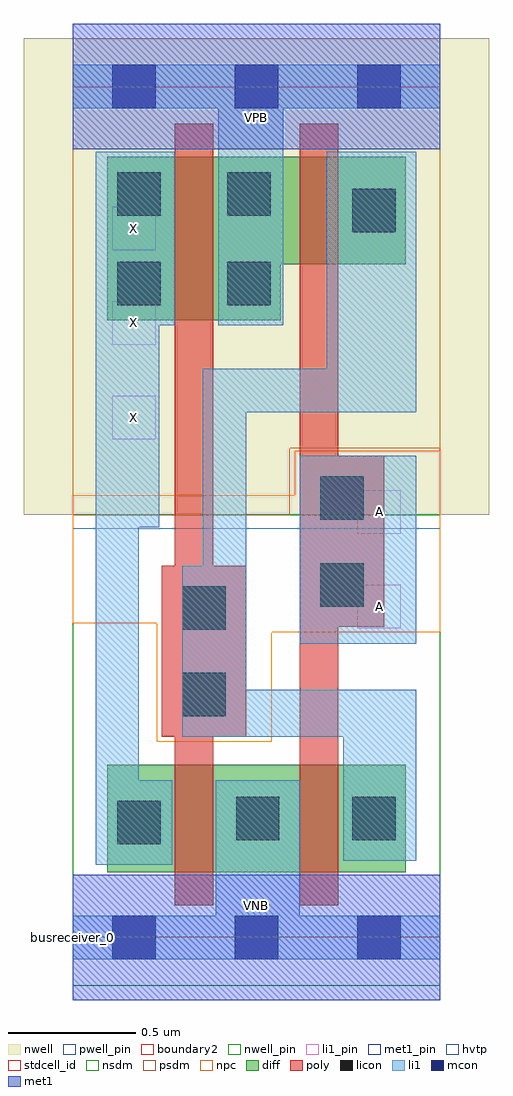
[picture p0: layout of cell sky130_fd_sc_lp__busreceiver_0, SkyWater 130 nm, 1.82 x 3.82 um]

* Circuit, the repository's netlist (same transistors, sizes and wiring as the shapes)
* Copyright 2020 The SkyWater PDK Authors
*
* Licensed under the Apache License, Version 2.0 (the "License");
* you may not use this file except in compliance with the License.
* You may obtain a copy of the License at
*
*     https://www.apache.org/licenses/LICENSE-2.0
*
* Unless required by applicable law or agreed to in writing, software
* distributed under the License is distributed on an "AS IS" BASIS,
* WITHOUT WARRANTIES OR CONDITIONS OF ANY KIND, either express or implied.
* See the License for the specific language governing permissions and
* limitations under the License.
*
* SPDX-License-Identifier: Apache-2.0

.SUBCKT sky130_fd_sc_lp__busreceiver_0 A VGND VNB VPB VPWR X
*.PININFO A:I VGND:I VNB:I VPB:I VPWR:I X:O
MMIN1 Ab A VGND VNB sky130_fd_pr__nfet_01v8 m=1 w=0.42U l=0.15U mult=1 sa=0.265
+ sb=0.265 sd=0.28 area=0.063 perim=1.14
MMIN2 X Ab VGND VNB sky130_fd_pr__nfet_01v8 m=1 w=0.42U l=0.15U mult=1 sa=0.265
+ sb=0.265 sd=0.28 area=0.063 perim=1.14
MMIP1 Ab A VPWR VPB sky130_fd_pr__pfet_01v8_hvt m=1 w=0.42U l=0.15U mult=1 sa=0.265
+ sb=0.265 sd=0.28 area=0.063 perim=1.14
MMIP2 X Ab VPWR VPB sky130_fd_pr__pfet_01v8_hvt m=1 w=0.64U l=0.15U mult=1 sa=0.265
+ sb=0.265 sd=0.28 area=0.063 perim=1.14
.ENDS sky130_fd_sc_lp__busreceiver_0

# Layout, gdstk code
import gdstk
lib = gdstk.Library(unit=1e-6, precision=1e-09)
def R(c, l, rs):  # rectangles x0, y0, x1, y1
    for r in rs: c.add(gdstk.rectangle(r[:2], r[2:], *l))
def A(c, l, x, y, w, h, nx, ny, dx, dy):  # array of equal rectangles
    R(c, l, [(x+i*dx, y+j*dy, x+i*dx+w, y+j*dy+h) for i in range(nx) for j in range(ny)])
def P(c, l, *ps):  # polygons
    for p in ps: c.add(gdstk.Polygon(p, *l))
nwell_pin = (64, 16)
nwell = (64, 20)
diff = (65, 20)
poly = (66, 20)
licon = (66, 44)
li1_pin = (67, 16)
li1 = (67, 20)
mcon = (67, 44)
met1_pin = (68, 16)
met1 = (68, 20)
hvtp = (78, 44)
stdcell_id = (81, 4)
nsdm = (93, 44)
psdm = (94, 20)
npc = (95, 20)
pwell_pin = (122, 16)
boundary2 = (236, 0)

sky130_fd_sc_lp__busrece = lib.new_cell('sky130_fd_sc_lp__busreceiver_0')
R(sky130_fd_sc_lp__busrece, nwell_pin, [(0,3.085,1.44,3.33)])
R(sky130_fd_sc_lp__busrece, nwell, [(-0.19,1.655,1.63,3.52)])
R(sky130_fd_sc_lp__busrece, diff, [(0.135,0.255,1.305,0.675)])
P(sky130_fd_sc_lp__busrece, diff, [(1.305,3.055),(0.135,3.055),(0.135,2.415),(0.815,2.415),(0.815,2.635),(1.305,2.635)])
P(sky130_fd_sc_lp__busrece, poly, [(0.68,1.455),(0.55,1.455),(0.55,3.185),(0.4,3.185),(0.4,1.455),(0.35,1.455),(0.35,0.785),(0.4,0.785),(0.4,0.125),(0.55,0.125),(0.55,0.785),(0.68,0.785)],
  [(1.22,1.885),(1.04,1.885),(1.04,3.185),(0.89,3.185),(0.89,0.125),(1.04,0.125),(1.04,1.215),(1.22,1.215)])
R(sky130_fd_sc_lp__busrece, licon, [(0.175,0.365,0.345,0.535), (0.64,0.38,0.81,0.55), (1.095,0.38,1.265,0.55), (0.43,0.865,0.6,1.035), (0.43,1.205,0.6,1.375), (0.97,1.295,1.14,1.465), (0.97,1.635,1.14,1.805), (0.175,2.475,0.345,2.645), (0.605,2.475,0.775,2.645), (1.095,2.76,1.265,2.93), (0.175,2.825,0.345,2.995), (0.605,2.825,0.775,2.995)])
A(sky130_fd_sc_lp__busrece, li1_pin, 0.155, 1.95, 0.17, 0.17, 1, 3, 0, 0.37)
R(sky130_fd_sc_lp__busrece, li1_pin, [(1.115,1.21,1.285,1.38), (1.115,1.58,1.285,1.75)])
R(sky130_fd_sc_lp__busrece, li1, [(0.89,1.15,1.345,1.885)])
P(sky130_fd_sc_lp__busrece, li1, [(0.4,3.075),(0.09,3.075),(0.09,0.285),(0.39,0.285),(0.39,0.615),(0.26,0.615),(0.26,1.605),(0.34,1.605),(0.34,2.395),(0.4,2.395)],
  [(1.44,0.085),(0.89,0.085),(0.89,0.615),(0.56,0.615),(0.56,0.085),(0,0.085),(0,-0.085),(1.44,-0.085)],
  [(1.345,0.97),(0.68,0.97),(0.68,2.055),(1.345,2.055),(1.345,3.075),(0.995,3.075),(0.995,2.225),(0.51,2.225),(0.51,1.455),(0.43,1.455),(0.43,0.785),(1.06,0.785),(1.06,0.3),(1.345,0.3)],
  [(1.44,3.415),(0,3.415),(0,3.245),(0.57,3.245),(0.57,2.395),(0.825,2.395),(0.825,3.245),(1.44,3.245)])
A(sky130_fd_sc_lp__busrece, mcon, 0.155, -0.085, 0.17, 0.17, 3, 2, 0.48, 3.33)
R(sky130_fd_sc_lp__busrece, met1_pin, [(0,0,1.44,0.245), (0,3.085,1.44,3.33)])
R(sky130_fd_sc_lp__busrece, met1, [(0,-0.245,1.44,0.245), (0,3.085,1.44,3.575)])
R(sky130_fd_sc_lp__busrece, hvtp, [(0,1.6,1.44,3.33)])
R(sky130_fd_sc_lp__busrece, stdcell_id, [(0,0,1.44,3.33)])
R(sky130_fd_sc_lp__busrece, nsdm, [(0,-0.19,1.44,1.655)])
P(sky130_fd_sc_lp__busrece, psdm, [(1.44,3.52),(0,3.52),(0,1.655),(0.85,1.655),(0.85,1.915),(1.44,1.915)])
P(sky130_fd_sc_lp__busrece, npc, [(1.44,1.905),(0.87,1.905),(0.87,1.73),(0,1.73),(0,1.23),(0.33,1.23),(0.33,0.765),(0.78,0.765),(0.78,1.195),(1.44,1.195)])
R(sky130_fd_sc_lp__busrece, pwell_pin, [(0,0,1.44,0.245)])
R(sky130_fd_sc_lp__busrece, boundary2, [(0,0,1.44,3.33)])
sky130_fd_sc_lp__busrece.add(gdstk.Label('VNB', (0.72,0.123), layer=64, texttype=59))
sky130_fd_sc_lp__busrece.add(gdstk.Label('VPB', (0.72,3.208), layer=64, texttype=5))
sky130_fd_sc_lp__busrece.add(gdstk.Label('busreceiver_0', (0,0), layer=83, texttype=44))
sky130_fd_sc_lp__busrece.add(gdstk.Label('VPWR', (0.72,3.208), layer=68, texttype=5))
sky130_fd_sc_lp__busrece.add(gdstk.Label('VGND', (0.72,0.123), layer=68, texttype=5))
sky130_fd_sc_lp__busrece.add(gdstk.Label('A', (1.2,1.665), layer=67, texttype=5))
sky130_fd_sc_lp__busrece.add(gdstk.Label('X', (0.24,2.035), layer=67, texttype=5))
sky130_fd_sc_lp__busrece.add(gdstk.Label('X', (0.24,2.405), layer=67, texttype=5))
sky130_fd_sc_lp__busrece.add(gdstk.Label('X', (0.24,2.775), layer=67, texttype=5))
sky130_fd_sc_lp__busrece.add(gdstk.Label('A', (1.2,1.295), layer=67, texttype=5))

lib.write_gds('sky130_fd_sc_lp__busreceiver_0.gds')
